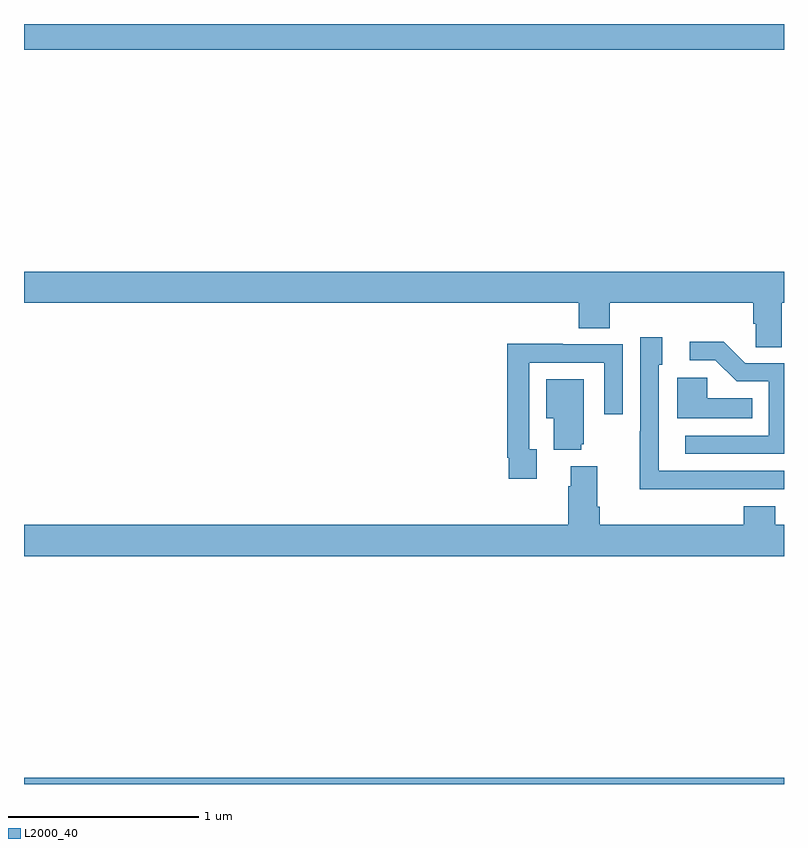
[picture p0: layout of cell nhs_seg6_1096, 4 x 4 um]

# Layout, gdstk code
import gdstk
lib = gdstk.Library(unit=1e-6, precision=1e-09)
def R(c, l, rs):  # rectangles x0, y0, x1, y1
    for r in rs: c.add(gdstk.rectangle(r[:2], r[2:], *l))
def P(c, l, *ps):  # polygons
    for p in ps: c.add(gdstk.Polygon(p, *l))
L2000_40 = (2000, 40)

nhs_seg6_1096 = lib.new_cell('nhs_seg6_1096')
R(nhs_seg6_1096, L2000_40, [(179,915.5,183,915.532), (179,919.364,183,919.5)])
P(nhs_seg6_1096, L2000_40, [(182.989,918.032),(183,918.032),(183,918.196),(179,918.196),(179,918.032),(181.919,918.032),(181.919,917.899),(182.084,917.899),(182.084,918.032),(182.837,918.032),(182.837,917.923),(182.85,917.923),(182.85,917.8),(182.989,917.8)],
  [(182.705,917.052),(183,917.052),(183,917.148),(182.341,917.148),(182.341,917.402),(182.34,917.402),(182.34,917.706),(182.359,917.706),(182.359,917.851),(182.244,917.851),(182.244,917.357),(182.242,917.357),(182.242,917.051),(182.705,917.051)],
  [(183,917.715),(182.796,917.715),(182.683,917.828),(182.505,917.828),(182.505,917.73),(182.639,917.73),(182.75,917.619),(182.919,917.619),(182.919,917.334),(182.481,917.334),(182.481,917.238),(183,917.238)],
  [(181.699,917.262),(181.659,917.262),(181.659,917.718),(182.055,917.718),(182.055,917.445),(182.151,917.445),(182.151,917.814),(181.835,917.814),(181.835,917.816),(181.543,917.816),(181.543,917.218),(181.551,917.218),(181.551,917.106),(181.699,917.106)],
  [(182.834,917.53),(182.595,917.53),(182.595,917.638),(182.438,917.638),(182.438,917.426),(182.834,917.426)],
  [(181.934,917.289),(181.945,917.289),(181.945,917.629),(181.748,917.629),(181.748,917.426),(181.787,917.426),(181.787,917.258),(181.934,917.258)],
  [(183,916.864),(182.954,916.864),(182.954,916.963),(182.789,916.963),(182.789,916.864),(182.03,916.864),(182.03,916.96),(182.017,916.96),(182.017,917.173),(181.877,917.173),(181.877,917.066),(181.865,917.066),(181.865,916.864),(179,916.864),(179,916.7),(183,916.7)])

lib.write_gds('nhs_seg6_1096.gds')
